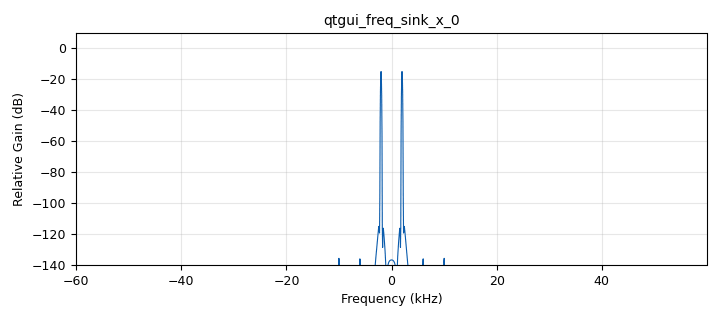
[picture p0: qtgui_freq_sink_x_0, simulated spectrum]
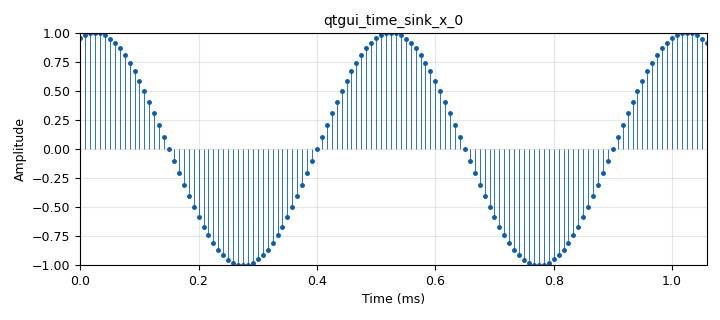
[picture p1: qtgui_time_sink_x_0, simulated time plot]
options:
  parameters:
    author: L1C_G6
    copyright: '2020'
    description: Sample Rate demo
    generate_options: qt_gui
    id: LABCOM1_L1C_G6
    output_language: python
    title: Práctica1
  states: {}

blocks:
- name: freq
  id: variable_qtgui_range
  parameters:
    label: Frequency
    start: '1000'
    step: '1000'
    stop: '40000'
    value: '2000'
  states: {}
- name: samp_rate
  id: variable
  parameters:
    value: '120000'
  states: {}
- name: analog_sig_source_x_0
  id: analog_sig_source_x
  parameters:
    alias: freq
    amp: '1'
    freq: freq
    offset: '0'
    phase: '0'
    samp_rate: samp_rate
    type: float
    waveform: analog.GR_SIN_WAVE
  states: {}
- name: blocks_throttle_0
  id: blocks_throttle
  parameters:
    samples_per_second: samp_rate
    type: float
  states: {}
- name: qtgui_freq_sink_x_0
  id: qtgui_freq_sink_x
  parameters:
    bw: samp_rate
    fc: '0'
    fftsize: '2048'
    type: float
  states: {}
- name: qtgui_time_sink_x_0
  id: qtgui_time_sink_x
  parameters:
    entags: 'False'
    grid: 'True'
    marker1: '0'
    size: '128'
    srate: samp_rate
    stemplot: 'True'
    type: float
  states: {}

connections:
- [analog_sig_source_x_0, '0', blocks_throttle_0, '0']
- [blocks_throttle_0, '0', qtgui_freq_sink_x_0, '0']
- [blocks_throttle_0, '0', qtgui_time_sink_x_0, '0']

metadata:
  file_format: 1
